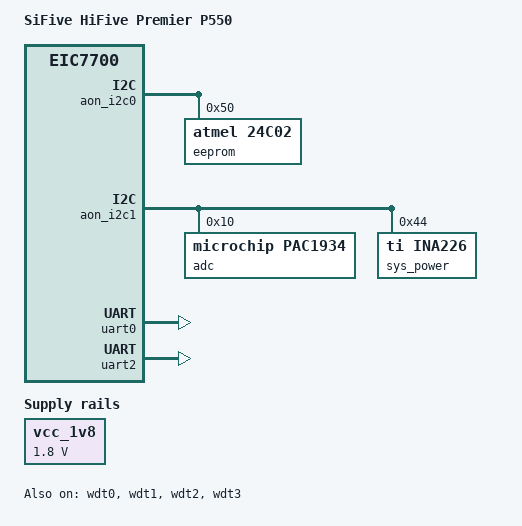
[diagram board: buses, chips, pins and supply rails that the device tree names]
// SPDX-License-Identifier: (GPL-2.0 OR MIT)
/*
 * Copyright (c) 2024, Beijing ESWIN Computing Technology Co., Ltd.
 */

/dts-v1/;

#include "eic7700.dtsi"
#include "eic7700-pinctrl.dtsi"

/ {
	compatible = "sifive,hifive-premier-p550", "eswin,eic7700";
	model = "SiFive HiFive Premier P550";

	aliases {
		serial0 = &uart0;
	};

	chosen {
		stdout-path = "serial0:115200n8";
	};

	vcc_1v8: regulator-vcc1v8 {
		compatible = "regulator-fixed";
		regulator-name = "vcc1v8";
		regulator-always-on;
		regulator-boot-on;
		regulator-min-microvolt = <1800000>;
		regulator-max-microvolt = <1800000>;
	};
};

&clock_24m {
	clock-frequency = <24000000>;
	clock-output-names = "clock_24m";
};

&gpio0_pins {
	bias-disable;
	input-enable;
};

&gpio5_pins {
	bias-disable;
	input-enable;
};

&gpio11_pins {
	bias-disable;
	input-enable;
};

&gpio14_pins {
	bias-pull-up;
	input-disable;
};

&gpio15_pins {
	bias-disable;
	input-enable;
};

&gpio28_pins {
	bias-disable;
	input-enable;
};

&gpio43_pins {
	bias-disable;
	input-disable;
};

&gpio71_pins {
	bias-pull-up;
	input-disable;
};

&gpio74_pins {
	bias-pull-up;
	input-disable;
};

&gpio76_pins {
	bias-disable;
	input-disable;
};

&gpio77_pins {
	bias-pull-up;
	input-disable;
};

&gpio79_pins {
	bias-disable;
	input-disable;
};

&gpio80_pins {
	bias-pull-up;
	input-disable;
};

&gpio82_pins {
	bias-pull-up;
	input-disable;
};

&gpio84_pins {
	bias-disable;
	input-disable;
};

&gpio85_pins {
	bias-pull-up;
	input-disable;
};

&gpio94_pins {
	bias-disable;
	input-disable;
};

&gpio106_pins {
	bias-disable;
	input-disable;
};

&gpio111_pins {
	bias-disable;
	input-disable;
};

&aon_i2c0 {
	status = "okay";

	eeprom@50 {
		compatible = "atmel,24c02";
		reg = <0x50>;
	};
};

&aon_i2c1 {
	status = "okay";

	adc@10 {
		compatible = "microchip,pac1934";
		reg = <0x10>;
		#address-cells = <1>;
		#size-cells = <0>;

		channel@1 {
			reg = <0x1>;
			shunt-resistor-micro-ohms = <1000>;
			label = "VDD_SOM";
		};

		channel@2 {
			reg = <0x2>;
			shunt-resistor-micro-ohms = <1000>;
			label = "VDD_SOC";
		};

		channel@3 {
			reg = <0x3>;
			shunt-resistor-micro-ohms = <1000>;
			label = "VDD_CPU";
		};

		channel@4 {
			reg = <0x4>;
			shunt-resistor-micro-ohms = <1000>;
			label = "VDD_LPDDR";
		};
	};

	power-sensor@44 {
		compatible = "ti,ina226";
		reg = <0x44>;
		#io-channel-cells = <1>;
		label = "sys_power";
		shunt-resistor = <1000>;
	};
};

&pinctrl {
	vrgmii-supply = <&vcc_1v8>;
};

&uart0 {
	status = "okay";
};

&uart2 {
	status = "okay";
};

&wdt0 {
	status = "okay";
};

&wdt1 {
	status = "okay";
};

&wdt2 {
	status = "okay";
};

&wdt3 {
	status = "okay";
};
